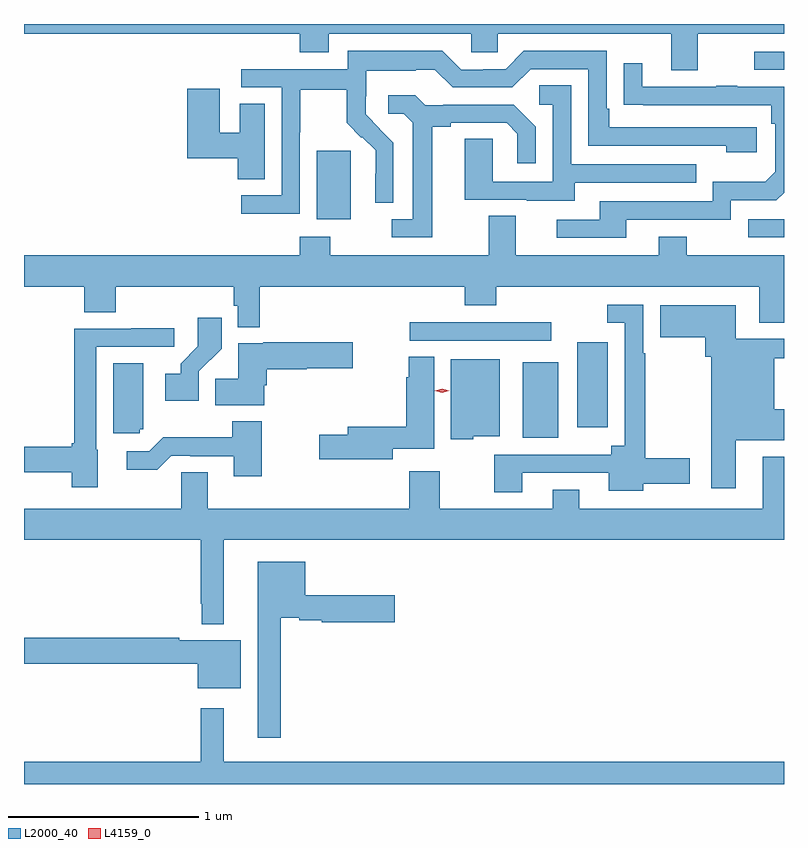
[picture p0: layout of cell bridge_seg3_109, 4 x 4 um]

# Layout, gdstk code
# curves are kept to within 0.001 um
import gdstk
lib = gdstk.Library(unit=1e-6, precision=1e-09)
def R(c, l, rs):  # rectangles x0, y0, x1, y1
    for r in rs: c.add(gdstk.rectangle(r[:2], r[2:], *l))
def P(c, l, *ps):  # polygons
    for p in ps: c.add(gdstk.Polygon(p, *l))
L2000_40 = (2000, 40)
L4159_0 = (4159, 0)

bridge_seg3_109 = lib.new_cell('bridge_seg3_109')
R(bridge_seg3_109, L2000_40, [(360.212,712.109,360.4,712.507), (360.5,712.164,360.661,712.612), (359.619,712.62,360.364,712.716), (361.401,713.163,361.588,713.259), (359.129,713.258,359.308,713.619), (361.431,714.045,361.588,714.141)])
P(bridge_seg3_109, L2000_40, [(361.135,714.236),(361.588,714.236),(361.588,714.286),(357.588,714.286),(357.588,714.236),(359.039,714.236),(359.039,714.137),(359.191,714.137),(359.191,714.236),(359.943,714.236),(359.943,714.138),(360.081,714.138),(360.081,714.236),(360.995,714.236),(360.995,714.042),(361.135,714.042)],
  [(359.04,713.716),(359.043,713.716),(359.043,713.94),(359.287,713.94),(359.287,713.765),(359.364,713.688),(359.367,713.691),(359.438,713.621),(359.438,713.498),(359.436,713.498),(359.436,713.344),(359.532,713.344),(359.532,713.662),(359.386,713.81),(359.386,713.907),(359.388,713.907),(359.388,714.041),(359.651,714.041),(359.651,714.045),(359.751,714.045),(359.844,713.952),(360.159,713.952),(360.255,714.048),(360.558,714.048),(360.558,713.646),(361.283,713.646),(361.283,713.612),(361.444,713.612),(361.444,713.742),(360.667,713.742),(360.667,713.839),(360.654,713.839),(360.654,714.144),(360.219,714.144),(360.123,714.048),(360.005,714.048),(360.005,714.045),(359.889,714.045),(359.789,714.145),(359.292,714.145),(359.292,714.048),(358.731,714.048),(358.731,713.952),(358.944,713.952),(358.944,713.385),(358.731,713.385),(358.731,713.287),(359.04,713.287)],
  [(360.757,713.256),(361.308,713.256),(361.308,713.358),(361.548,713.358),(361.588,713.398),(361.588,713.955),(361.343,713.955),(361.343,713.96),(361.231,713.96),(361.231,713.955),(360.841,713.955),(360.841,714.079),(360.745,714.079),(360.745,713.86),(361.522,713.859),(361.522,713.762),(361.542,713.762),(361.542,713.508),(361.489,713.455),(361.212,713.455),(361.212,713.352),(360.617,713.352),(360.617,713.256),(360.393,713.256),(360.393,713.16),(360.757,713.16)],
  [(360.487,713.451),(361.127,713.451),(361.127,713.547),(360.468,713.547),(360.468,713.963),(360.3,713.963),(360.3,713.862),(360.372,713.862),(360.372,713.457),(360.054,713.457),(360.054,713.681),(359.909,713.681),(359.909,713.361),(360.233,713.361),(360.233,713.357),(360.487,713.357)],
  [(358.855,713.867),(358.724,713.867),(358.724,713.713),(358.618,713.713),(358.618,713.944),(358.448,713.944),(358.448,713.579),(358.712,713.579),(358.712,713.47),(358.855,713.47)],
  [(359.737,713.744),(359.833,713.744),(359.833,713.766),(360.128,713.766),(360.185,713.709),(360.185,713.553),(360.282,713.553),(360.282,713.746),(360.166,713.862),(359.794,713.862),(359.794,713.859),(359.7,713.859),(359.648,713.911),(359.505,713.911),(359.505,713.814),(359.586,713.814),(359.633,713.767),(359.633,713.259),(359.523,713.259),(359.523,713.163),(359.737,713.163)],
  [(359.909,712.805),(360.074,712.805),(360.074,712.904),(361.457,712.904),(361.457,712.714),(361.588,712.714),(361.588,713.068),(361.077,713.068),(361.077,713.167),(360.929,713.167),(360.929,713.068),(360.175,713.068),(360.175,713.276),(360.035,713.276),(360.035,713.068),(359.199,713.068),(359.199,713.167),(359.039,713.167),(359.039,713.068),(357.588,713.068),(357.588,712.904),(357.905,712.904),(357.905,712.768),(358.07,712.768),(358.07,712.904),(358.693,712.904),(358.693,712.803),(358.713,712.803),(358.713,712.691),(358.829,712.691),(358.829,712.904),(359.909,712.904)],
  [(360.211,711.924),(360.665,711.924),(360.665,711.83),(360.847,711.83),(360.847,711.866),(361.093,711.866),(361.093,712.001),(360.859,712.001),(360.859,712.553),(360.846,712.553),(360.846,712.809),(360.657,712.809),(360.657,712.713),(360.75,712.713),(360.75,712.066),(360.68,712.066),(360.68,712.02),(360.064,712.02),(360.064,711.822),(360.211,711.822)],
  [(361.333,712.094),(361.588,712.094),(361.588,712.258),(361.537,712.258),(361.537,712.528),(361.588,712.528),(361.588,712.629),(361.333,712.629),(361.333,712.807),(360.936,712.807),(360.936,712.637),(361.174,712.637),(361.174,712.536),(361.205,712.536),(361.205,711.843),(361.333,711.843)],
  [(358.509,712.459),(358.628,712.578),(358.628,712.741),(358.503,712.741),(358.503,712.589),(358.412,712.499),(358.412,712.444),(358.332,712.444),(358.332,712.304),(358.509,712.304)],
  [(357.976,712.044),(357.969,712.044),(357.969,712.587),(358.378,712.587),(358.378,712.686),(358.153,712.686),(358.153,712.683),(357.853,712.683),(357.853,712.079),(357.84,712.079),(357.84,712.061),(357.588,712.061),(357.588,711.926),(357.84,711.926),(357.84,711.848),(357.976,711.848)],
  [(358.852,712.385),(358.865,712.385),(358.865,712.469),(359.076,712.469),(359.076,712.474),(359.317,712.474),(359.317,712.611),(358.848,712.611),(358.848,712.606),(358.715,712.606),(358.715,712.418),(358.594,712.418),(358.594,712.28),(358.852,712.28)],
  [(359.53,712.05),(359.746,712.05),(359.746,712.535),(359.612,712.535),(359.612,712.427),(359.6,712.427),(359.6,712.166),(359.291,712.166),(359.291,712.125),(359.142,712.125),(359.142,711.995),(359.53,711.995)],
  [(359.952,712.115),(360.091,712.115),(360.091,712.522),(359.834,712.522),(359.834,712.1),(359.952,712.1)],
  [(358.197,712.152),(358.216,712.152),(358.216,712.501),(358.058,712.501),(358.058,712.131),(358.197,712.131)],
  [(358.839,712.195),(358.684,712.195),(358.684,712.111),(358.321,712.111),(358.248,712.038),(358.128,712.038),(358.128,711.941),(358.289,711.941),(358.362,712.014),(358.462,712.014),(358.462,712.011),(358.691,712.011),(358.691,711.906),(358.839,711.906)],
  [(358.639,711.572),(361.588,711.572),(361.588,712.009),(361.475,712.009),(361.475,711.736),(360.511,711.736),(360.511,711.835),(360.371,711.835),(360.371,711.736),(359.775,711.736),(359.775,711.931),(359.615,711.931),(359.615,711.736),(358.555,711.736),(358.555,711.926),(358.416,711.926),(358.416,711.736),(357.588,711.736),(357.588,711.572),(358.518,711.572),(358.518,711.235),(358.524,711.235),(358.524,711.128),(358.639,711.128)],
  [(358.939,711.161),(359.036,711.161),(359.036,711.149),(359.154,711.149),(359.154,711.137),(359.539,711.137),(359.539,711.279),(359.068,711.279),(359.068,711.457),(358.817,711.457),(358.817,710.529),(358.939,710.529)],
  [(358.729,711.043),(358.406,711.043),(358.406,711.056),(357.588,711.056),(357.588,710.92),(358.502,710.92),(358.502,710.789),(358.729,710.789)],
  [(361.588,710.404),(358.639,710.404),(358.639,710.686),(358.518,710.686),(358.518,710.404),(357.588,710.404),(357.588,710.286),(361.588,710.286)])
P(bridge_seg3_109, L4159_0, [(359.789,712.345),(359.751,712.356),(359.75,712.356),(359.751,712.356),(359.789,712.365),(359.827,712.355),(359.827,712.355),(359.827,712.355)])

lib.write_gds('bridge_seg3_109.gds')
